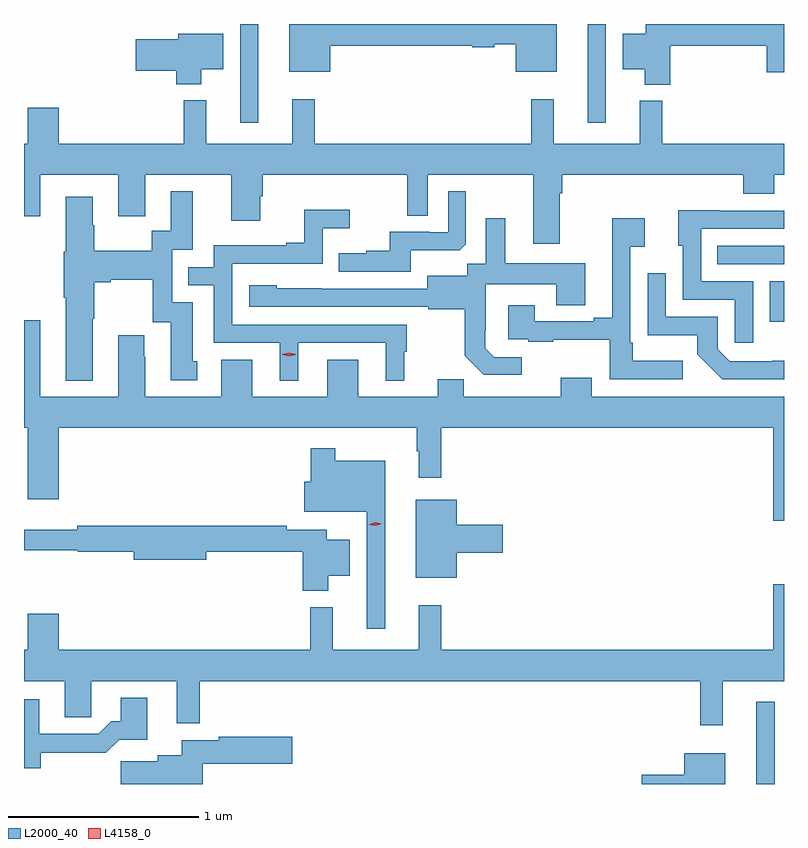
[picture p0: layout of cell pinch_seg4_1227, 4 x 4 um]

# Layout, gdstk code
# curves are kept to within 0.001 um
import gdstk
lib = gdstk.Library(unit=1e-6, precision=1e-09)
def R(c, l, rs):  # rectangles x0, y0, x1, y1
    for r in rs: c.add(gdstk.rectangle(r[:2], r[2:], *l))
def P(c, l, *ps):  # polygons
    for p in ps: c.add(gdstk.Polygon(p, *l))
L2000_40 = (2000, 40)
L4158_0 = (4158, 0)

pinch_seg4_1227 = lib.new_cell('pinch_seg4_1227')
R(pinch_seg4_1227, L2000_40, [(156.854,810.93,156.951,811.363), (156.926,813.362,157,813.577), (156.649,813.666,157,813.762), (154.137,814.41,154.234,814.93), (155.966,814.41,156.063,814.93)])
P(pinch_seg4_1227, L2000_40, [(154.612,814.816),(155.358,814.816),(155.358,814.808),(155.475,814.808),(155.475,814.823),(155.588,814.823),(155.588,814.679),(155.803,814.679),(155.803,814.93),(154.397,814.93),(154.397,814.679),(154.612,814.679)],
  [(156.401,814.816),(156.908,814.816),(156.908,814.676),(157,814.676),(157,814.93),(156.272,814.93),(156.272,814.879),(156.152,814.879),(156.152,814.691),(156.266,814.691),(156.266,814.61),(156.401,814.61)],
  [(153.934,814.691),(154.048,814.691),(154.048,814.879),(153.812,814.879),(153.812,814.849),(153.588,814.849),(153.588,814.684),(153.8,814.684),(153.8,814.613),(153.934,814.613)],
  [(155.821,814.04),(155.834,814.04),(155.834,814.136),(156.785,814.136),(156.785,814.037),(156.949,814.037),(156.949,814.136),(157,814.136),(157,814.3),(156.359,814.3),(156.359,814.525),(156.242,814.525),(156.242,814.3),(155.789,814.3),(155.789,814.534),(155.671,814.534),(155.671,814.3),(154.529,814.3),(154.529,814.534),(154.412,814.534),(154.412,814.3),(153.959,814.3),(153.959,814.528),(153.841,814.528),(153.841,814.3),(153.184,814.3),(153.184,814.489),(153.02,814.489),(153.02,814.3),(153,814.3),(153,813.918),(153.085,813.918),(153.085,814.136),(153.497,814.136),(153.497,813.918),(153.637,813.918),(153.637,814.136),(154.091,814.136),(154.091,813.894),(154.243,813.894),(154.243,814.023),(154.256,814.023),(154.256,814.136),(155.016,814.136),(155.016,813.922),(155.124,813.922),(155.124,814.136),(155.681,814.136),(155.681,813.774),(155.821,813.774)],
  [(155.035,813.74),(155.293,813.74),(155.325,813.771),(155.325,814.051),(155.232,814.051),(155.232,813.834),(155.132,813.834),(155.132,813.837),(154.925,813.837),(154.925,813.736),(154.801,813.736),(154.801,813.724),(154.657,813.724),(154.657,813.627),(155.035,813.627)],
  [(153.361,813.379),(153.369,813.379),(153.369,813.572),(153.457,813.572),(153.457,813.584),(153.677,813.584),(153.677,813.36),(153.773,813.36),(153.773,813.054),(153.913,813.054),(153.913,813.156),(153.889,813.156),(153.889,813.465),(153.78,813.465),(153.78,813.741),(153.889,813.741),(153.889,814.051),(153.773,814.051),(153.773,813.842),(153.672,813.842),(153.672,813.736),(153.369,813.736),(153.369,813.87),(153.361,813.87),(153.361,814.021),(153.221,814.021),(153.221,813.732),(153.209,813.732),(153.209,813.488),(153.221,813.488),(153.221,813.053),(153.361,813.053)],
  [(154.444,813.252),(154.904,813.252),(154.904,813.053),(155.002,813.053),(155.002,813.204),(155.014,813.204),(155.014,813.348),(154.095,813.348),(154.095,813.669),(154.572,813.669),(154.572,813.854),(154.714,813.854),(154.714,813.953),(154.474,813.953),(154.474,813.778),(154.379,813.778),(154.379,813.765),(153.999,813.765),(153.999,813.651),(153.865,813.651),(153.865,813.555),(153.999,813.555),(153.999,813.252),(154.346,813.252),(154.346,813.053),(154.444,813.053)],
  [(156.837,813.576),(156.564,813.576),(156.564,813.852),(157,813.852),(157,813.948),(156.661,813.948),(156.661,813.95),(156.443,813.95),(156.443,813.762),(156.468,813.762),(156.468,813.48),(156.741,813.48),(156.741,813.252),(156.837,813.252)],
  [(155.62,813.177),(155.475,813.177),(155.428,813.224),(155.428,813.319),(155.43,813.319),(155.43,813.56),(155.801,813.56),(155.801,813.451),(155.953,813.451),(155.953,813.67),(155.533,813.67),(155.533,813.907),(155.429,813.907),(155.429,813.668),(155.334,813.668),(155.334,813.604),(155.123,813.604),(155.123,813.537),(154.329,813.538),(154.329,813.556),(154.185,813.556),(154.185,813.441),(155.127,813.441),(155.127,813.429),(155.319,813.429),(155.319,813.183),(155.419,813.083),(155.62,813.083)],
  [(156.466,813.157),(156.205,813.157),(156.205,813.253),(156.192,813.253),(156.192,813.758),(156.268,813.758),(156.268,813.907),(156.095,813.907),(156.095,813.385),(155.999,813.385),(155.999,813.366),(155.689,813.366),(155.689,813.451),(155.549,813.451),(155.549,813.27),(155.653,813.27),(155.653,813.258),(155.785,813.258),(155.785,813.269),(156.084,813.269),(156.084,813.06),(156.466,813.06)],
  [(157,813.158),(156.938,813.158),(156.938,813.156),(156.714,813.156),(156.651,813.219),(156.651,813.39),(156.378,813.39),(156.378,813.619),(156.282,813.619),(156.282,813.293),(156.544,813.293),(156.544,813.191),(156.674,813.06),(157,813.06)],
  [(157,812.968),(155.989,812.968),(155.989,813.067),(155.825,813.067),(155.825,812.968),(155.315,812.968),(155.315,813.059),(155.177,813.059),(155.177,812.968),(154.759,812.968),(154.759,813.163),(154.595,813.163),(154.595,812.968),(154.201,812.968),(154.201,813.163),(154.037,813.163),(154.037,812.968),(153.637,812.968),(153.637,813.179),(153.634,813.179),(153.634,813.292),(153.497,813.292),(153.497,812.968),(153.085,812.968),(153.085,813.37),(153,813.37),(153,812.804),(153.02,812.804),(153.02,812.43),(153.184,812.43),(153.184,812.804),(155.067,812.804),(155.067,812.681),(155.078,812.681),(155.078,812.541),(155.195,812.541),(155.195,812.804),(156.943,812.804),(156.943,812.316),(157,812.316)],
  [(154.9,812.632),(154.639,812.632),(154.639,812.698),(154.51,812.698),(154.51,812.521),(154.476,812.521),(154.476,812.363),(154.803,812.363),(154.803,811.746),(154.9,811.746)],
  [(155.278,812.147),(155.521,812.147),(155.521,812.294),(155.278,812.294),(155.278,812.425),(155.063,812.425),(155.063,812.015),(155.278,812.015)],
  [(154.6,812.027),(154.714,812.027),(154.714,812.215),(154.594,812.215),(154.594,812.268),(154.382,812.268),(154.382,812.288),(153.28,812.288),(153.28,812.269),(153,812.269),(153,812.16),(153.282,812.16),(153.282,812.152),(153.578,812.152),(153.578,812.11),(153.958,812.11),(153.958,812.152),(154.466,812.152),(154.466,811.946),(154.6,811.946)],
  [(156.677,811.472),(157,811.472),(157,811.981),(156.943,811.981),(156.943,811.636),(155.195,811.636),(155.195,811.87),(155.078,811.87),(155.078,811.636),(154.625,811.636),(154.625,811.861),(154.507,811.861),(154.507,811.636),(153.184,811.636),(153.184,811.825),(153.02,811.825),(153.02,811.636),(153,811.636),(153,811.472),(153.215,811.472),(153.215,811.282),(153.354,811.282),(153.354,811.472),(153.803,811.472),(153.803,811.251),(153.925,811.251),(153.925,811.472),(156.559,811.472),(156.559,811.239),(156.677,811.239)],
  [(153.087,811.094),(153.431,811.094),(153.5,811.163),(153.649,811.163),(153.649,811.384),(153.509,811.384),(153.509,811.261),(153.46,811.261),(153.393,811.194),(153.079,811.194),(153.079,811.375),(153,811.375),(153,811.013),(153.087,811.013)],
  [(153.94,811.037),(154.411,811.037),(154.411,811.179),(154.026,811.179),(154.026,811.159),(153.83,811.159),(153.83,811.081),(153.704,811.081),(153.704,811.049),(153.51,811.049),(153.51,810.93),(153.94,810.93)],
  [(156.691,811.093),(156.476,811.093),(156.476,810.98),(156.252,810.98),(156.252,810.93),(156.691,810.93)])
P(pinch_seg4_1227, L4158_0, [(154.395,813.181),(154.359,813.19),(154.359,813.191),(154.359,813.191),(154.395,813.201),(154.431,813.191),(154.431,813.191),(154.431,813.19)],
  [(154.85,812.288),(154.814,812.295),(154.814,812.295),(154.814,812.295),(154.848,812.308),(154.884,812.3),(154.884,812.3),(154.884,812.3)])

lib.write_gds('pinch_seg4_1227.gds')
